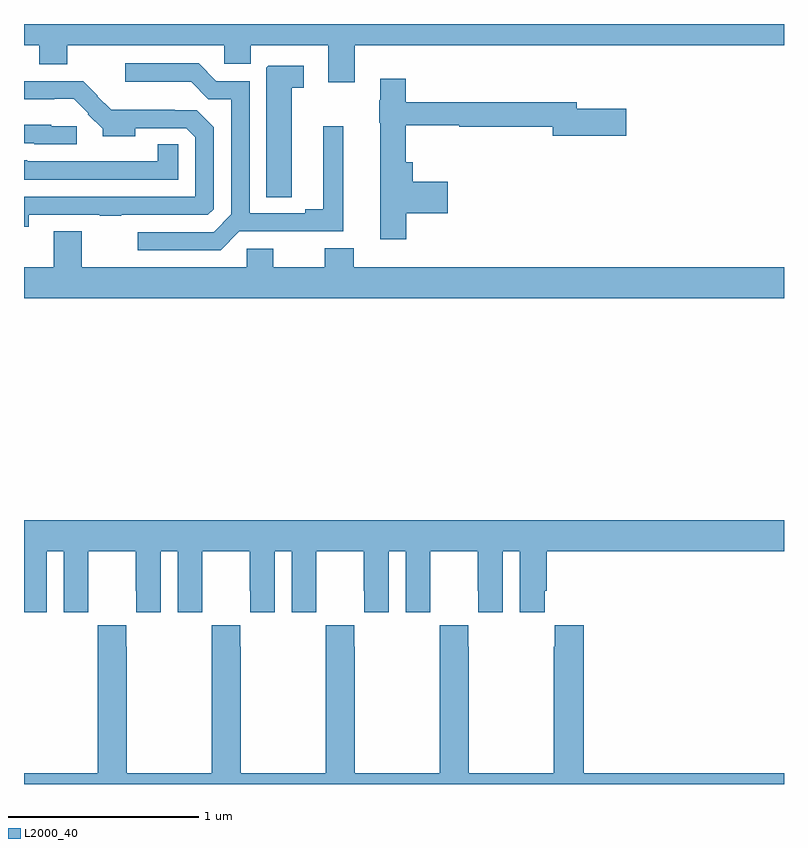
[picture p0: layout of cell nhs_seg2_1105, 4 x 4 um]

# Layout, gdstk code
import gdstk
lib = gdstk.Library(unit=1e-6, precision=1e-09)
def P(c, l, *ps):  # polygons
    for p in ps: c.add(gdstk.Polygon(p, *l))
L2000_40 = (2000, 40)

nhs_seg2_1105 = lib.new_cell('nhs_seg2_1105')
P(nhs_seg2_1105, L2000_40, [(170.74,595.688),(173,595.688),(173,595.8),(169,595.8),(169,595.688),(169.079,595.688),(169.079,595.589),(169.227,595.589),(169.227,595.688),(170.055,595.688),(170.055,595.59),(170.194,595.59),(170.194,595.688),(170.6,595.688),(170.6,595.494),(170.74,595.494)],
  [(170.134,594.708),(170.68,594.708),(170.68,595.261),(170.576,595.261),(170.576,594.824),(170.48,594.824),(170.48,594.804),(170.187,594.804),(170.187,595.5),(170.013,595.5),(169.92,595.593),(169.533,595.593),(169.533,595.496),(169.879,595.496),(169.97,595.405),(170.091,595.405),(170.091,594.798),(169.998,594.705),(169.599,594.705),(169.599,594.609),(170.035,594.609)],
  [(170.41,595.465),(170.473,595.465),(170.473,595.581),(170.286,595.581),(170.276,595.571),(170.276,594.889),(170.41,594.889)],
  [(171.011,594.803),(171.229,594.803),(171.229,594.969),(171.047,594.969),(171.047,595.072),(171.008,595.072),(171.008,595.266),(171.291,595.266),(171.291,595.258),(171.782,595.258),(171.782,595.211),(172.171,595.211),(172.171,595.353),(171.91,595.353),(171.91,595.387),(171.008,595.387),(171.008,595.513),(170.876,595.513),(170.876,595.4),(170.869,595.4),(170.869,595.281),(170.876,595.281),(170.876,594.666),(171.011,594.666)],
  [(169.026,594.795),(169.399,594.795),(169.399,594.79),(169.511,594.79),(169.511,594.795),(169.968,594.795),(169.998,594.825),(169.998,595.257),(169.909,595.346),(169.793,595.346),(169.793,595.348),(169.459,595.348),(169.385,595.421),(169.387,595.423),(169.311,595.5),(169,595.5),(169,595.403),(169.16,595.403),(169.16,595.406),(169.262,595.406),(169.338,595.329),(169.335,595.326),(169.414,595.248),(169.414,595.208),(169.585,595.208),(169.585,595.251),(169.854,595.251),(169.902,595.203),(169.902,594.891),(169,594.891),(169,594.732),(169.026,594.732)],
  [(169.278,595.263),(169.143,595.263),(169.143,595.27),(169,595.27),(169,595.173),(169.053,595.173),(169.053,595.167),(169.278,595.167)],
  [(169.812,595.166),(169.704,595.166),(169.704,595.078),(169.449,595.078),(169.449,595.077),(169.017,595.077),(169.017,595.084),(169,595.084),(169,594.981),(169.812,594.981)],
  [(173,594.52),(170.735,594.52),(170.735,594.619),(170.582,594.619),(170.582,594.52),(170.311,594.52),(170.311,594.618),(170.172,594.618),(170.172,594.52),(169.303,594.52),(169.303,594.71),(169.156,594.71),(169.156,594.52),(169,594.52),(169,594.356),(173,594.356)],
  [(169.12,593.024),(169.208,593.024),(169.208,592.704),(169.338,592.704),(169.338,592.816),(169.339,592.816),(169.339,593.024),(169.589,593.024),(169.589,592.816),(169.59,592.816),(169.59,592.704),(169.72,592.704),(169.72,593.024),(169.808,593.024),(169.808,592.704),(169.938,592.704),(169.938,592.816),(169.939,592.816),(169.939,593.024),(170.189,593.024),(170.189,592.816),(170.19,592.816),(170.19,592.704),(170.32,592.704),(170.32,593.024),(170.408,593.024),(170.408,592.704),(170.538,592.704),(170.538,592.816),(170.539,592.816),(170.539,593.024),(170.789,593.024),(170.789,592.816),(170.79,592.816),(170.79,592.704),(170.92,592.704),(170.92,593.024),(171.008,593.024),(171.008,592.704),(171.138,592.704),(171.138,592.816),(171.139,592.816),(171.139,593.024),(171.389,593.024),(171.389,592.816),(171.39,592.816),(171.39,592.704),(171.52,592.704),(171.52,593.024),(171.608,593.024),(171.608,592.704),(171.742,592.704),(171.742,592.816),(171.752,592.816),(171.752,593.024),(173,593.024),(173,593.188),(169,593.188),(169,592.704),(169.12,592.704)],
  [(173,591.856),(171.947,591.856),(171.947,592.636),(171.793,592.636),(171.793,592.523),(171.787,592.523),(171.787,591.856),(171.342,591.856),(171.342,592.523),(171.339,592.523),(171.339,592.636),(171.189,592.636),(171.189,592.523),(171.187,592.523),(171.187,591.856),(170.742,591.856),(170.742,592.523),(170.739,592.523),(170.739,592.636),(170.589,592.636),(170.589,592.523),(170.587,592.523),(170.587,591.856),(170.142,591.856),(170.142,592.523),(170.139,592.523),(170.139,592.636),(169.989,592.636),(169.989,592.523),(169.987,592.523),(169.987,591.856),(169.542,591.856),(169.542,592.523),(169.539,592.523),(169.539,592.636),(169.389,592.636),(169.389,592.523),(169.387,592.523),(169.387,591.856),(169,591.856),(169,591.8),(173,591.8)])

lib.write_gds('nhs_seg2_1105.gds')
